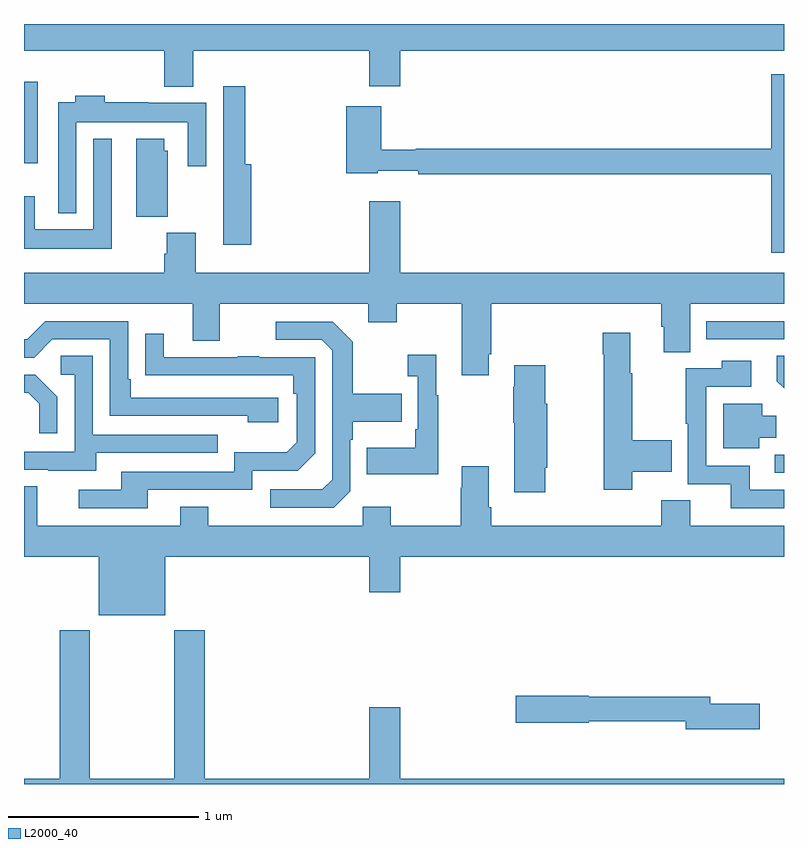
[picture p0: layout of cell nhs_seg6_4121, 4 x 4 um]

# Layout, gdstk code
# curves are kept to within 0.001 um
import gdstk
lib = gdstk.Library(unit=1e-6, precision=1e-09)
def R(c, l, rs):  # rectangles x0, y0, x1, y1
    for r in rs: c.add(gdstk.rectangle(r[:2], r[2:], *l))
def P(c, l, *ps):  # polygons
    for p in ps: c.add(gdstk.Polygon(p, *l))
L2000_40 = (2000, 40)

nhs_seg6_4121 = lib.new_cell('nhs_seg6_4121')
R(nhs_seg6_4121, L2000_40, [(358.95,921.138,359,921.234), (358.592,921.84,359,921.936), (355,922.766,355.072,923.197)])
P(nhs_seg6_4121, L2000_40, [(355.891,923.36),(356.816,923.36),(356.816,923.172),(356.98,923.172),(356.98,923.36),(359,923.36),(359,923.5),(355,923.5),(355,923.36),(355.739,923.36),(355.739,923.171),(355.891,923.171)],
  [(359,923.236),(358.934,923.236),(358.934,922.844),(357.062,922.844),(357.062,922.837),(356.879,922.837),(356.879,923.068),(356.696,923.068),(356.696,922.715),(356.862,922.715),(356.862,922.727),(357.076,922.727),(357.076,922.708),(358.934,922.708),(358.934,922.296),(359,922.296)],
  [(356.195,922.762),(356.165,922.762),(356.165,923.173),(356.049,923.173),(356.049,922.658),(356.048,922.658),(356.048,922.338),(356.195,922.338)],
  [(355.275,922.982),(355.863,922.982),(355.863,922.752),(355.959,922.752),(355.959,923.086),(355.655,923.086),(355.655,923.089),(355.424,923.089),(355.424,923.122),(355.271,923.122),(355.271,923.089),(355.179,923.089),(355.179,922.505),(355.275,922.505)],
  [(355.462,922.897),(355.365,922.897),(355.365,922.42),(355.056,922.42),(355.056,922.594),(355,922.594),(355,922.316),(355.462,922.316)],
  [(355.756,922.833),(355.738,922.833),(355.738,922.897),(355.592,922.897),(355.592,922.486),(355.756,922.486)],
  [(357.445,921.763),(357.458,921.763),(357.458,922.028),(358.355,922.028),(358.355,921.906),(358.367,921.906),(358.367,921.772),(358.507,921.772),(358.507,922.028),(359,922.028),(359,922.192),(356.98,922.192),(356.98,922.567),(356.816,922.567),(356.816,922.192),(355.904,922.192),(355.904,922.401),(355.751,922.401),(355.751,922.292),(355.739,922.292),(355.739,922.192),(355,922.192),(355,922.028),(355.889,922.028),(355.889,921.834),(356.029,921.834),(356.029,922.028),(356.813,922.028),(356.813,921.929),(356.961,921.929),(356.961,922.028),(357.305,922.028),(357.305,921.651),(357.445,921.651)],
  [(356.338,921.534),(355.561,921.534),(355.561,921.631),(355.548,921.631),(355.548,921.936),(355.113,921.936),(355.017,921.84),(355,921.84),(355,921.744),(355.053,921.744),(355.149,921.84),(355.452,921.84),(355.452,921.438),(356.177,921.438),(356.177,921.404),(356.338,921.404)],
  [(356.718,921.042),(356.718,921.311),(356.731,921.311),(356.731,921.407),(356.987,921.407),(356.987,921.555),(356.731,921.555),(356.731,921.827),(356.625,921.933),(356.325,921.933),(356.325,921.837),(356.568,921.837),(356.622,921.783),(356.622,921.102),(356.571,921.051),(356.295,921.051),(356.295,920.955),(356.631,920.955)],
  [(358.2,921.143),(358.409,921.143),(358.409,921.309),(358.2,921.309),(358.2,921.661),(358.192,921.661),(358.192,921.874),(358.046,921.874),(358.046,921.761),(358.051,921.761),(358.051,921.048),(358.2,921.048)],
  [(355.651,921.048),(356.202,921.048),(356.202,921.15),(356.442,921.15),(356.532,921.24),(356.532,921.747),(356.237,921.747),(356.237,921.752),(356.125,921.752),(356.125,921.747),(355.735,921.747),(355.735,921.871),(355.639,921.871),(355.639,921.652),(356.416,921.651),(356.416,921.554),(356.436,921.554),(356.436,921.3),(356.383,921.247),(356.106,921.247),(356.106,921.144),(355.511,921.144),(355.511,921.048),(355.287,921.048),(355.287,920.952),(355.651,920.952)],
  [(357.181,921.547),(357.169,921.547),(357.169,921.76),(357.021,921.76),(357.021,921.647),(357.072,921.647),(357.072,921.367),(357.06,921.367),(357.06,921.271),(356.803,921.271),(356.803,921.131),(357.181,921.131)],
  [(355.381,921.243),(356.021,921.243),(356.021,921.339),(355.362,921.339),(355.362,921.755),(355.194,921.755),(355.194,921.654),(355.266,921.654),(355.266,921.249),(355,921.249),(355,921.153),(355.127,921.153),(355.127,921.149),(355.381,921.149)],
  [(359,921.755),(358.963,921.755),(358.963,921.619),(359,921.582)],
  [(359,921.048),(358.819,921.048),(358.819,921.174),(358.59,921.174),(358.59,921.591),(358.828,921.591),(358.828,921.727),(358.672,921.727),(358.672,921.687),(358.482,921.687),(358.482,921.397),(358.494,921.397),(358.494,921.078),(358.721,921.078),(358.721,920.952),(359,920.952)],
  [(357.744,921.165),(357.754,921.165),(357.754,921.501),(357.744,921.501),(357.744,921.703),(357.581,921.703),(357.581,921.59),(357.574,921.59),(357.574,921.401),(357.581,921.401),(357.581,921.036),(357.744,921.036)],
  [(355.176,921.538),(355.06,921.654),(355,921.654),(355,921.558),(355.022,921.558),(355.079,921.501),(355.079,921.345),(355.176,921.345)],
  [(358.87,921.323),(358.96,921.323),(358.96,921.439),(358.885,921.439),(358.885,921.502),(358.679,921.502),(358.679,921.266),(358.87,921.266)],
  [(355.744,920.696),(356.816,920.696),(356.816,920.508),(356.98,920.508),(356.98,920.696),(359,920.696),(359,920.86),(358.507,920.86),(358.507,920.993),(358.355,920.993),(358.355,920.86),(357.458,920.86),(357.458,920.956),(357.445,920.956),(357.445,921.172),(357.305,921.172),(357.305,921.059),(357.298,921.059),(357.298,920.86),(356.931,920.86),(356.931,920.959),(356.784,920.959),(356.784,920.86),(355.971,920.86),(355.971,920.959),(355.823,920.959),(355.823,920.86),(355.069,920.86),(355.069,921.068),(355,921.068),(355,920.696),(355.394,920.696),(355.394,920.387),(355.744,920.387)],
  [(359,919.528),(356.98,919.528),(356.98,919.903),(356.816,919.903),(356.816,919.528),(355.952,919.528),(355.952,920.308),(355.792,920.308),(355.792,919.528),(355.347,919.528),(355.347,920.308),(355.187,920.308),(355.187,919.528),(355,919.528),(355,919.5),(359,919.5)],
  [(358.873,919.922),(358.612,919.922),(358.612,919.958),(357.972,919.958),(357.972,919.964),(357.588,919.964),(357.588,919.822),(357.972,919.822),(357.972,919.83),(358.484,919.83),(358.484,919.787),(358.873,919.787)])

lib.write_gds('nhs_seg6_4121.gds')
